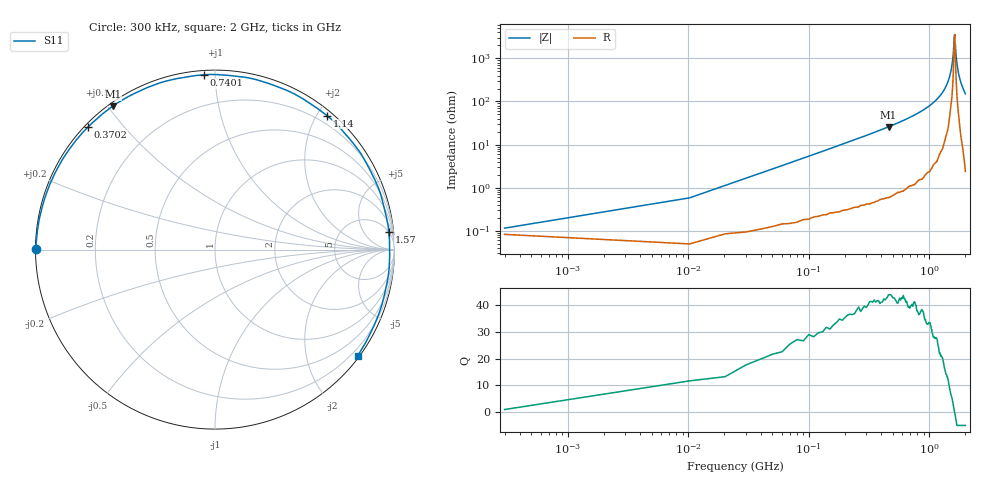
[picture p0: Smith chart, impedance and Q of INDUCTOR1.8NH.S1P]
!Agilent Technologies,E5071C,MY46520295,B.13.20
!Date: Fri Feb 09 07:31:47 2024
!Data & Calibration Information:
!Freq	S11:SOLT2(ON)
!PortZ  Port1:50+j0
!Above PortZ is port z conversion or system Z0 setting when saving the data.
!When reading, reference impedance value at option line is always used.
# Hz S RI R 50
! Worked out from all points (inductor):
!   201 points, 300 kHz to 2 GHz, reference 50 ohm
!   read as one part to ground: L = 8.83 nH near 10.3 MHz
!   highest Q = 43.9 at 460.2 MHz (marker M1), where L = 8.91 nH
!   self-resonance near 1.62 GHz
!   S11 on the Smith chart (normalised r, x): 300 kHz: 0.00, +0.00; 370.2 MHz: 0.01, +0.41; 740.1 MHz: 0.02, +0.94; 1.14 GHz: 0.08, +2.14; 1.57 GHz: 5, +18; 2 GHz: 0.05, -3.02
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300000  -0.9967 0.00319
5.0285e7  -0.9892 0.1079
1.20264e8  -0.9593 0.2508
1.80246e8  -0.9189 0.3668
2.50225e8  -0.854 0.4947
3.20204e8  -0.7737 0.6098
3.70189e8  -0.7061 0.6845
4.60162e8  -0.5698 0.7994
5.0015e8  -0.5027 0.8414
5.60132e8  -0.3967 0.8944
6.10117e8  -0.3074 0.929
6.80096e8  -0.1741 0.9597
7.40078e8  -0.0622 0.9737
7.50075e8  -0.0431 0.9752
8.70039e8  0.1822 0.9576
1e9  0.4104 0.8827
1.049985e9  0.4908 0.8395
1.139958e9  0.6238 0.7466
1.249925e9  0.7596 0.6045
1.319904e9  0.8306 0.5045
1.389883e9  0.8871 0.3961
1.439868e9  0.9203 0.3164
1.49985e9  0.9467 0.2153
1.569829e9  0.9687 0.0985
1.679796e9  0.9716 -0.0889
1.749775e9  0.954 -0.2058
1.859742e9  0.9033 -0.3829
1.9997e9  0.7951 -0.5909
